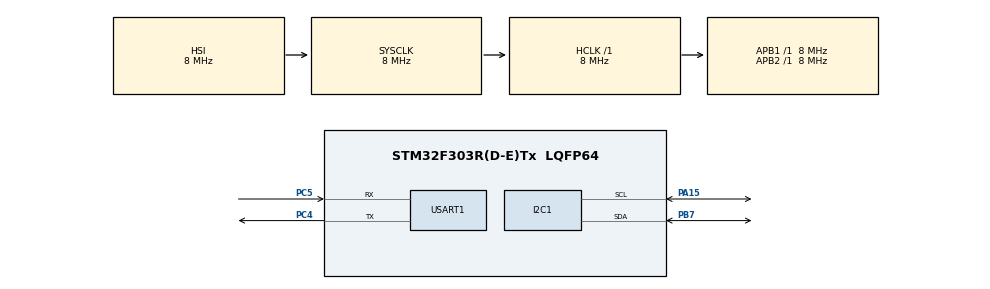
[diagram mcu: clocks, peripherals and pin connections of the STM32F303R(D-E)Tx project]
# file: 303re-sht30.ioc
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Mcu.Family=STM32F3
RCC.CortexFreq_Value=8000000
PC4.Signal=USART1_TX
PC5.Mode=Asynchronous
ProjectManager.StackSize=0x400
USART1.VirtualMode-Asynchronous=VM_ASYNC
PA13.Signal=SYS_JTMS-SWDIO
ProjectManager.TargetToolchain=STM32CubeIDE
RCC.USBFreq_Value=16000000
RCC.LSE_VALUE=32768
RCC.AHBFreq_Value=8000000
PF0-OSC_IN.Mode=HSE-External-Oscillator
RCC.HSE_VALUE=8000000
board=custom
PA15.Mode=I2C
RCC.APB2Freq_Value=8000000
PA14.Mode=Serial_Wire
PB7.Signal=I2C1_SDA
PA13.Mode=Serial_Wire
Mcu.Name=STM32F303R(D-E)Tx
RCC.SYSCLKFreq_VALUE=8000000
Mcu.Package=LQFP64
PB7.Mode=I2C
PA14.Signal=SYS_JTCK-SWCLK
PA15.Signal=I2C1_SCL
ProjectManager.HeapSize=0x200
RCC.HSI_VALUE=8000000
NVIC.PriorityGroup=NVIC_PRIORITYGROUP_4
PC5.Signal=USART1_RX
PF0-OSC_IN.Signal=RCC_OSC_IN
PF1-OSC_OUT.Mode=HSE-External-Oscillator
RCC.APB1Freq_Value=8000000
PF1-OSC_OUT.Signal=RCC_OSC_OUT
PC4.Mode=Asynchronous

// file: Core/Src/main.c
/* USER CODE BEGIN Header */
/**
  ******************************************************************************
  * @file           : main.c
  * @brief          : Main program body
  ******************************************************************************
  * @attention
  *
  * <h2><center>&copy; Copyright (c) 2021 STMicroelectronics.
  * All rights reserved.</center></h2>
  *
  * This software component is licensed by ST under BSD 3-Clause license,
  * the "License"; You may not use this file except in compliance with the
  * License. You may obtain a copy of the License at:
  *                        opensource.org/licenses/BSD-3-Clause
  *
  ******************************************************************************
  */
/* USER CODE END Header */
#include "main.h"

/* USER CODE BEGIN Includes */
#include "Stdio.h"
#include "String.h"
#include "SHT30_I2C_Driver.h"  //bu 3 kütüphaneyi ekliyoruz
/* USER CODE END Includes */

I2C_HandleTypeDef hi2c1;

UART_HandleTypeDef huart1;

/* USER CODE BEGIN PV */
uint8_t I2CRXBuffer[6]; //tanımlamayı yapıyoruz

/* USER CODE END PV */

void SystemClock_Config(void);
static void MX_GPIO_Init(void);
static void MX_I2C1_Init(void);
static void MX_USART1_UART_Init(void);

int main(void)
{
  /* USER CODE BEGIN 1 */

	uint8_t Error = 0;
		float Temperature = 0,Humidity = 0;

  /* USER CODE END 1 */

  /* MCU Configuration--------------------------------------------------------*/

  /* Reset of all peripherals, Initializes the Flash interface and the Systick. */
  HAL_Init();

  /* USER CODE BEGIN Init */
  memset(I2CRXBuffer,0,sizeof(I2CRXBuffer));

  /* USER CODE END Init */

  /* Configure the system clock */
  SystemClock_Config();

  /* Initialize all configured peripherals */
  MX_GPIO_Init();
  MX_I2C1_Init();
  MX_USART1_UART_Init();

  /* Infinite loop */
  while (1)
  {

    /* USER CODE BEGIN 3 */
	  if(SHT30_ValGet(I2CRXBuffer) == HAL_OK)
	  		{
	  			Error = SHT30_Dat_To_Float(I2CRXBuffer,&Temperature,&Humidity);
	  			if(!Error)
	  			{
	  				printf("Temperature:%.2fC,Humidity:%.2f%%\r\n",Temperature,Humidity);
	  				HAL_Delay(1000);
	  			}
	  			else
	  			{
	  				printf("CRC Error\r\n");
	  			}
	  		}
	  		else
	  		{
	  			printf("SHT30_ValGet Error\r\n");
	  		}

  }
  /* USER CODE END 3 */
}

void SystemClock_Config(void)
{
  RCC_OscInitTypeDef RCC_OscInitStruct = {0};
  RCC_ClkInitTypeDef RCC_ClkInitStruct = {0};
  RCC_PeriphCLKInitTypeDef PeriphClkInit = {0};

  /** Initializes the RCC Oscillators according to the specified parameters
  * in the RCC_OscInitTypeDef structure.
  */
  RCC_OscInitStruct.OscillatorType = RCC_OSCILLATORTYPE_HSI;
  RCC_OscInitStruct.HSIState = RCC_HSI_ON;
  RCC_OscInitStruct.HSICalibrationValue = RCC_HSICALIBRATION_DEFAULT;
  RCC_OscInitStruct.PLL.PLLState = RCC_PLL_NONE;
  if (HAL_RCC_OscConfig(&RCC_OscInitStruct) != HAL_OK)
  {
    Error_Handler();
  }
  /** Initializes the CPU, AHB and APB buses clocks
  */
  RCC_ClkInitStruct.ClockType = RCC_CLOCKTYPE_HCLK|RCC_CLOCKTYPE_SYSCLK
                              |RCC_CLOCKTYPE_PCLK1|RCC_CLOCKTYPE_PCLK2;
  RCC_ClkInitStruct.SYSCLKSource = RCC_SYSCLKSOURCE_HSI;
  RCC_ClkInitStruct.AHBCLKDivider = RCC_SYSCLK_DIV1;
  RCC_ClkInitStruct.APB1CLKDivider = RCC_HCLK_DIV1;
  RCC_ClkInitStruct.APB2CLKDivider = RCC_HCLK_DIV1;

  if (HAL_RCC_ClockConfig(&RCC_ClkInitStruct, FLASH_LATENCY_0) != HAL_OK)
  {
    Error_Handler();
  }
  PeriphClkInit.PeriphClockSelection = RCC_PERIPHCLK_USART1|RCC_PERIPHCLK_I2C1;
  PeriphClkInit.Usart1ClockSelection = RCC_USART1CLKSOURCE_PCLK2;
  PeriphClkInit.I2c1ClockSelection = RCC_I2C1CLKSOURCE_HSI;
  if (HAL_RCCEx_PeriphCLKConfig(&PeriphClkInit) != HAL_OK)
  {
    Error_Handler();
  }
}

static void MX_I2C1_Init(void)
{

  hi2c1.Instance = I2C1;
  hi2c1.Init.Timing = 0x2000090E;
  hi2c1.Init.OwnAddress1 = 0;
  hi2c1.Init.AddressingMode = I2C_ADDRESSINGMODE_7BIT;
  hi2c1.Init.DualAddressMode = I2C_DUALADDRESS_DISABLE;
  hi2c1.Init.OwnAddress2 = 0;
  hi2c1.Init.OwnAddress2Masks = I2C_OA2_NOMASK;
  hi2c1.Init.GeneralCallMode = I2C_GENERALCALL_DISABLE;
  hi2c1.Init.NoStretchMode = I2C_NOSTRETCH_DISABLE;
  if (HAL_I2C_Init(&hi2c1) != HAL_OK)
  {
    Error_Handler();
  }
  /** Configure Analogue filter
  */
  if (HAL_I2CEx_ConfigAnalogFilter(&hi2c1, I2C_ANALOGFILTER_ENABLE) != HAL_OK)
  {
    Error_Handler();
  }
  /** Configure Digital filter
  */
  if (HAL_I2CEx_ConfigDigitalFilter(&hi2c1, 0) != HAL_OK)
  {
    Error_Handler();
  }

}

static void MX_USART1_UART_Init(void)
{

  huart1.Instance = USART1;
  huart1.Init.BaudRate = 38400;
  huart1.Init.WordLength = UART_WORDLENGTH_8B;
  huart1.Init.StopBits = UART_STOPBITS_1;
  huart1.Init.Parity = UART_PARITY_NONE;
  huart1.Init.Mode = UART_MODE_TX_RX;
  huart1.Init.HwFlowCtl = UART_HWCONTROL_NONE;
  huart1.Init.OverSampling = UART_OVERSAMPLING_16;
  huart1.Init.OneBitSampling = UART_ONE_BIT_SAMPLE_DISABLE;
  huart1.AdvancedInit.AdvFeatureInit = UART_ADVFEATURE_NO_INIT;
  if (HAL_UART_Init(&huart1) != HAL_OK)
  {
    Error_Handler();
  }

}

static void MX_GPIO_Init(void)
{

  /* GPIO Ports Clock Enable */
  __HAL_RCC_GPIOF_CLK_ENABLE();
  __HAL_RCC_GPIOC_CLK_ENABLE();
  __HAL_RCC_GPIOA_CLK_ENABLE();
  __HAL_RCC_GPIOB_CLK_ENABLE();

}

void Error_Handler(void)
{
  __disable_irq();
  while (1)
  {
  }
}

/************************ (C) COPYRIGHT STMicroelectronics *****END OF FILE****/
